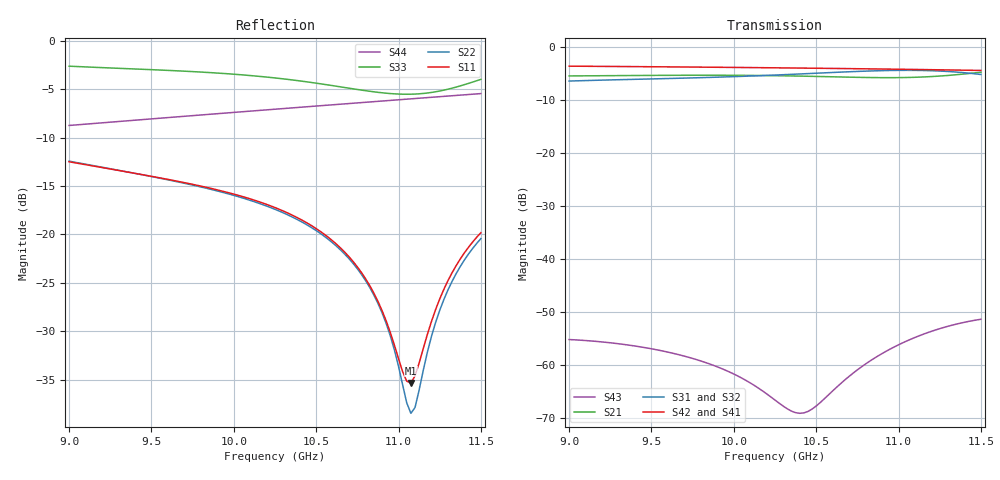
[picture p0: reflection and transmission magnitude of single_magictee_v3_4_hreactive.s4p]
! Touchstone file exported from HFSS 2025.2.4
!  File:  //wsl.localhost/Ubuntu/tmp/hfss-r11/hfss/output_v3_4_jacobian/h_cap_height_plus/single_magictee_v3_4_hreactive.aedt
!  Generated:  03:04:32 PM Sep 22, 2026
!  Design:  SingleMagicT_v3_4_HReactiveCell
!  Project:  single_magictee_v3_4_hreactive
! Variables:
!  f_adapt = 10.2GHz
!  h_cap_height = 9.4mm
!  h_cap_len = 2.5mm
!  h_terminal_ridge_w = 4.572mm
!  h_throat_a = 20.4mm
!  h_throat_len = 5.5mm
!  ridge_g1 = 7.672mm
!  ridge_g2 = 5.8mm
!  ridge_l1 = 9.872mm
!  ridge_l2 = 8.857mm
!  ridge_w = 4.572mm
!  terminal_ridge_len = 7.5mm
!  wg_a = 22.86mm
!  wg_b = 10.16mm
!Data is not renormalized
# GHz S MA
! Terminal data exported
! Port[1] = P1_CollinearMinusX
! Port[2] = P2_CollinearPlusX
! Port[3] = P3_HArm_Ridged
! Port[4] = P4_EArm
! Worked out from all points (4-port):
!   101 points, 9 GHz to 11.5 GHz, reference per port
!   strongest paths, dB at 9 GHz, 9.625 GHz, 10.25 GHz, 10.88 GHz, 11.5 GHz:
!     S42: -3.6, -3.8, -3.9, -4.2, -4.4
!     S41: -3.6, -3.8, -4.0, -4.2, -4.5
!     S31: -6.4, -5.9, -5.3, -4.5, -5.2
!     S32: -6.5, -6.0, -5.3, -4.5, -5.3
!     S21: -5.5, -5.4, -5.4, -5.8, -4.8
!     S43: -55.2, -57.8, -66.6, -58.3, -51.4
!   lowest |S11| = -35.3 dB at 11.07 GHz (marker M1), VSWR 1.03
!   |S11| at or under -10 dB: start of sweep to end of sweep
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9  0.2374 149.5  0.5325 -174.9  0.4763 61.2  0.6582 45.8
   0.5325 -174.9  0.2391 149.9  0.4755 61.1  0.6582 -134.2
   0.4763 61.2  0.4755 61.1  0.7396 128.0  0.001735 -93.9
   0.6582 45.8  0.6582 -134.2  0.001735 -93.9  0.3655 -115.7
9.325  0.2123 113.1  0.5364 149.1  0.4915 16.4  0.6524 8.6
       0.5364 149.1  0.2126 113.6  0.4905 16.3  0.653 -171.4
       0.4915 16.4  0.4905 16.3  0.7196 73.6  0.001565 -149.5
       0.6524 8.6  0.653 -171.4  0.001565 -149.5  0.3846 -150.6
9.7  0.1852 71.7  0.5402 108.6  0.5078 -34.2  0.6449 -32.9
     0.5402 108.6  0.1838 71.9  0.5065 -34.4  0.6464 147.1
     0.5078 -34.2  0.5065 -34.4  0.6968 11.9  0.001209 149.3
     0.6449 -32.9  0.6464 147.1  0.001209 149.3  0.4076 169.8
10.275  0.135 6.8  0.5345 48.6  0.5447 -111.5  0.6319 -94.6
        0.5345 48.6  0.1321 5.7  0.5425 -111.6  0.6345 85.4
        0.5447 -111.5  0.5425 -111.6  0.6395 -83.6  0.0004355 86.3
        0.6319 -94.6  0.6345 85.4  0.0004355 86.3  0.445 110.5
10.725  0.07235 -44.3  0.5174 5.3  0.585 -174.9  0.6203 -141.6
        0.5174 5.3  0.07074 -48.0  0.582 -174.9  0.6233 38.3
        0.585 -174.9  0.582 -174.9  0.5649 -169.4  0.0008375 107.6
        0.6203 -141.6  0.6233 38.3  0.0008375 107.6  0.4761 64.7
11.075  0.0171 -11.1  0.5158 -24.5  0.6012 131.7  0.6101 -177.7
        0.5158 -24.5  0.01193 -21.9  0.598 131.9  0.6134 2.2
        0.6012 131.7  0.598 131.9  0.5301 107.9  0.001748 54.2
        0.6101 -177.7  0.6134 2.2  0.001748 54.2  0.5015 29.2
11.5  0.1021 -0.3  0.5768 -59.6  0.5492 62.7  0.596 138.9
      0.5768 -59.6  0.09524 0.6  0.5464 62.9  0.5997 -41.4
      0.5492 62.7  0.5464 62.9  0.6324 -2.5  0.002695 -26.8
      0.596 138.9  0.5997 -41.4  0.002695 -26.8  0.5339 -13.7
